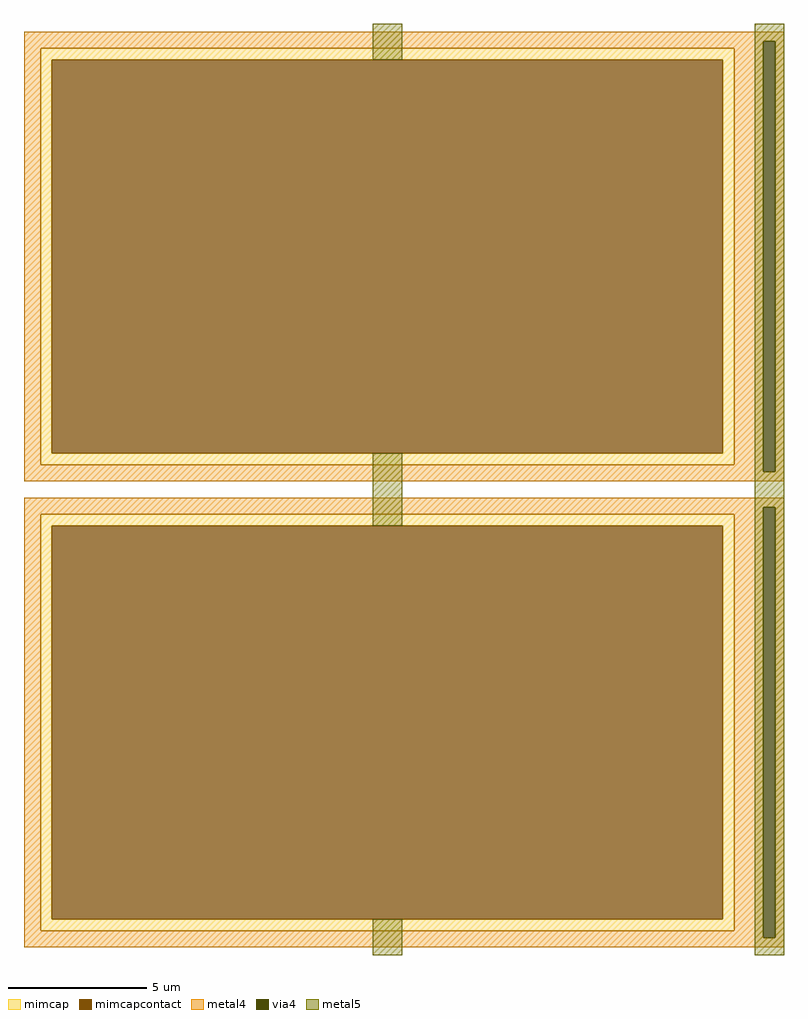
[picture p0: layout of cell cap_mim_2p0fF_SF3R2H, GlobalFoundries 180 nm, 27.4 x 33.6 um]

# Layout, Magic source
magic
tech gf180mcuC
magscale 1 10
<< mimcap >>
rect -2620 3100 2380 3180
rect -2620 260 -2540 3100
rect 2300 260 2380 3100
rect -2620 180 2380 260
rect -2620 -260 2380 -180
rect -2620 -3100 -2540 -260
rect 2300 -3100 2380 -260
rect -2620 -3180 2380 -3100
<< mimcapcontact >>
rect -2540 260 2300 3100
rect -2540 -3100 2300 -260
<< metal4 >>
rect -2740 3233 2740 3300
rect -2740 3180 2590 3233
rect -2740 180 -2620 3180
rect 2380 180 2590 3180
rect -2740 127 2590 180
rect 2678 127 2740 3233
rect -2740 60 2740 127
rect -2740 -127 2740 -60
rect -2740 -180 2590 -127
rect -2740 -3180 -2620 -180
rect 2380 -3180 2590 -180
rect -2740 -3233 2590 -3180
rect 2678 -3233 2740 -127
rect -2740 -3300 2740 -3233
<< via4 >>
rect 2590 127 2678 3233
rect 2590 -3233 2678 -127
<< metal5 >>
rect -226 3100 -14 3360
rect 2528 3233 2740 3360
rect -226 -260 -14 260
rect 2528 127 2590 3233
rect 2678 127 2740 3233
rect 2528 -127 2740 127
rect -226 -3360 -14 -3100
rect 2528 -3233 2590 -127
rect 2678 -3233 2740 -127
rect 2528 -3360 2740 -3233
<< properties >>
string FIXED_BBOX -2740 60 2500 3300
string gencell cap_mim_2p0fF
string library gf180mcu
string parameters w 25.00 l 15.00 val 10.975k carea 25.00 cperi 20.00 nx 1 ny 2 dummy 0 square 0 lmin 5.00 wmin 5.00 lmax 100.0 wmax 100.0 dc 0 bconnect 1 tconnect 1
<< end >>
